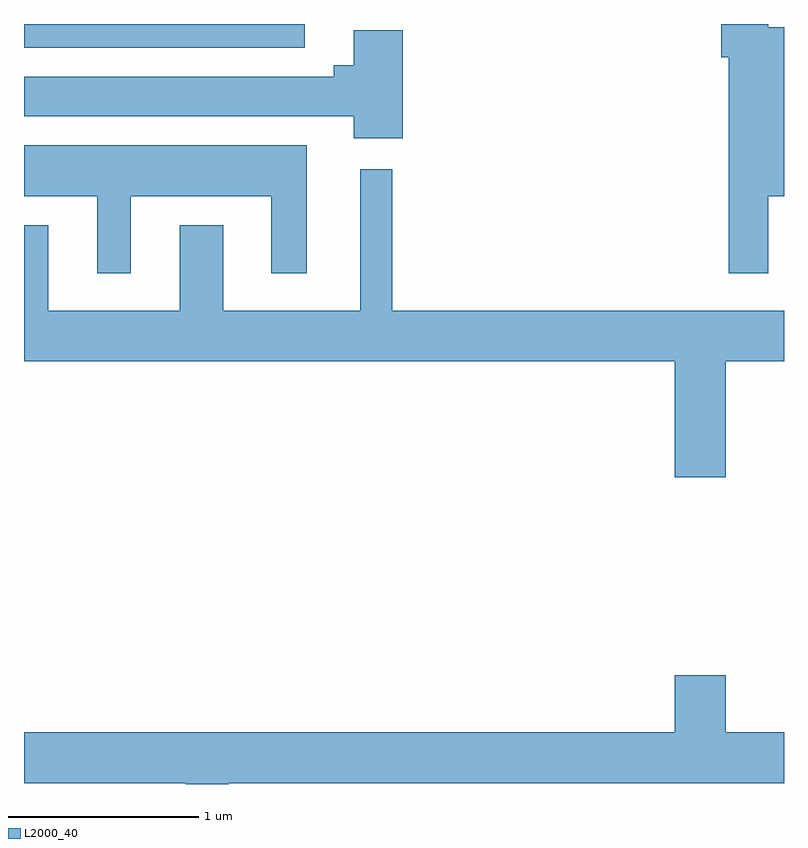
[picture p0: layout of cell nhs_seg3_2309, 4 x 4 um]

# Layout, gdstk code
import gdstk
lib = gdstk.Library(unit=1e-6, precision=1e-09)
def R(c, l, rs):  # rectangles x0, y0, x1, y1
    for r in rs: c.add(gdstk.rectangle(r[:2], r[2:], *l))
def P(c, l, *ps):  # polygons
    for p in ps: c.add(gdstk.Polygon(p, *l))
L2000_40 = (2000, 40)

nhs_seg3_2309 = lib.new_cell('nhs_seg3_2309')
R(nhs_seg3_2309, L2000_40, [(251.611,1249.766,253.089,1249.892)])
P(nhs_seg3_2309, L2000_40, [(255.529,1248.986),(255.611,1248.986),(255.611,1249.874),(255.529,1249.874),(255.529,1249.892),(255.281,1249.892),(255.281,1249.716),(255.321,1249.716),(255.321,1248.581),(255.529,1248.581)],
  [(253.604,1249.859),(253.346,1249.859),(253.346,1249.674),(253.241,1249.674),(253.241,1249.614),(251.611,1249.614),(251.611,1249.406),(253.346,1249.406),(253.346,1249.291),(253.604,1249.291)],
  [(252.174,1248.986),(252.911,1248.986),(252.911,1248.581),(253.099,1248.581),(253.099,1249.254),(251.611,1249.254),(251.611,1248.986),(251.996,1248.986),(251.996,1248.581),(252.174,1248.581)],
  [(255.304,1248.116),(255.611,1248.116),(255.611,1248.384),(253.549,1248.384),(253.549,1249.128),(253.381,1249.128),(253.381,1248.384),(252.659,1248.384),(252.659,1248.834),(252.431,1248.834),(252.431,1248.384),(251.739,1248.384),(251.739,1248.834),(251.611,1248.834),(251.611,1248.116),(255.036,1248.116),(255.036,1247.506),(255.304,1247.506)],
  [(252.689,1245.896),(255.611,1245.896),(255.611,1246.164),(255.304,1246.164),(255.304,1246.464),(255.036,1246.464),(255.036,1246.164),(251.611,1246.164),(251.611,1245.896),(252.461,1245.896),(252.461,1245.892),(252.689,1245.892)])

lib.write_gds('nhs_seg3_2309.gds')
